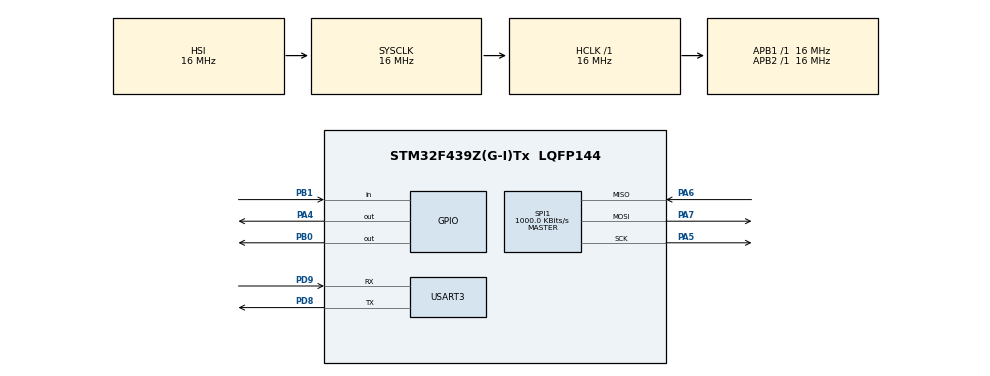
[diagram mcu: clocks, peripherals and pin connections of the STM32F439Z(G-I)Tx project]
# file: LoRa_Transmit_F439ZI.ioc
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Mcu.Family=STM32F4
Mcu.Name=STM32F439Z(G-I)Tx
Mcu.Package=LQFP144
NVIC.PriorityGroup=NVIC_PRIORITYGROUP_4
PA4.Signal=GPIO_Output
PA5.Mode=Full_Duplex_Master
PA5.Signal=SPI1_SCK
PA6.Mode=Full_Duplex_Master
PA6.Signal=SPI1_MISO
PA7.Mode=Full_Duplex_Master
PA7.Signal=SPI1_MOSI
PB0.Signal=GPIO_Output
PB1.Signal=GPIO_Input
PD8.Mode=Asynchronous
PD8.Signal=USART3_TX
PD9.Mode=Asynchronous
PD9.Signal=USART3_RX
ProjectManager.HeapSize=0x200
ProjectManager.StackSize=0x400
ProjectManager.TargetToolchain=STM32CubeIDE
RCC.AHBFreq_Value=16000000
RCC.APB1Freq_Value=16000000
RCC.APB2Freq_Value=16000000
RCC.CortexFreq_Value=16000000
RCC.HSE_VALUE=25000000
RCC.HSI_VALUE=16000000
RCC.LSE_VALUE=32768
RCC.SYSCLKFreq_VALUE=16000000
RCC.VCOOutputFreq_Value=192000000
SPI1.BaudRatePrescaler=SPI_BAUDRATEPRESCALER_16
SPI1.CalculateBaudRate=1000.0 KBits/s
SPI1.Direction=SPI_DIRECTION_2LINES
SPI1.Mode=SPI_MODE_MASTER
SPI1.VirtualType=VM_MASTER
USART3.VirtualMode=VM_ASYNC
board=custom

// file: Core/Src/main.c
/* USER CODE BEGIN Header */
/**
  ******************************************************************************
  * @file           : main.c
  * @brief          : Main program body
  ******************************************************************************
  * @attention
  *
  * Copyright (c) 2026 STMicroelectronics.
  * All rights reserved.
  *
  * This software is licensed under terms that can be found in the LICENSE file
  * in the root directory of this software component.
  * If no LICENSE file comes with this software, it is provided AS-IS.
  *
  ******************************************************************************
  */
/* USER CODE END Header */
#include "main.h"
#include "lora.h"
#include "stdio.h"
#include "string.h"
/* USER CODE BEGIN Includes */
extern UART_HandleTypeDef huart3;
/* USER CODE END Includes */

/* USER CODE BEGIN PD */
/*SCK   -> PA5
MISO  -> PA6
MOSI  -> PA7
NSS   -> PA4
RESET -> PB0
GND   -> GND
VCC   -> 3.3V
D1O0  -> PB1 */
/* USER CODE END PD */

SPI_HandleTypeDef hspi1;

UART_HandleTypeDef huart3;

void SystemClock_Config(void);
static void MX_GPIO_Init(void);
static void MX_SPI1_Init(void);
static void MX_USART3_UART_Init(void);

/* USER CODE BEGIN 0 */
int __io_putchar(int ch)
{
    HAL_UART_Transmit(&huart3,
                      (uint8_t *)&ch,
                      1,
                      HAL_MAX_DELAY);

    return ch;
}
typedef struct __attribute__((packed))
{
    float latitude;
    float longitude;
    float altitude;
    float batteryVoltage;
    float batteryCurrent;
    uint8_t flightMode;
} Telemetry_t;

/* USER CODE END 0 */

int main(void)
{

  /* MCU Configuration--------------------------------------------------------*/

  /* Reset of all peripherals, Initializes the Flash interface and the Systick. */
  HAL_Init();

  /* Configure the system clock */
  SystemClock_Config();

  /* Initialize all configured peripherals */
  MX_GPIO_Init();
  MX_SPI1_Init();
  MX_USART3_UART_Init();
  /* USER CODE BEGIN 2 */
   Telemetry_t txData;
   LoRa_Reset();
   if(LoRa_Init(433000000))
    {
        printf("LoRa Init OK\r\n");
    }
    else
    {
        printf("LoRa Init Failed\r\n");
    }

   HAL_Delay(100);
  /* USER CODE END 2 */

  /* Infinite loop */
  while (1)
  {

    /* USER CODE BEGIN 3 */
	  while(1)
	  {
	      txData.latitude = 21.1702f;
	      txData.longitude = 72.8311f;
	      txData.altitude = 120.5f;
	      txData.batteryVoltage = 11.8f;
	      txData.batteryCurrent = 2.3f;
	      txData.flightMode = 1;

	      printf("\r\n----- TRANSMITTER_F439ZI -----\r\n");
	      printf("Latitude        = %.4f\r\n", txData.latitude);
	      printf("Longitude       = %.4f\r\n", txData.longitude);
	      printf("Altitude        = %.2f m\r\n", txData.altitude);
	      printf("Battery Voltage = %.2f V\r\n", txData.batteryVoltage);
	      printf("Battery Current = %.2f A\r\n", txData.batteryCurrent);
	      printf("Flight Mode     = %d\r\n", txData.flightMode);
	      printf("Packet Size     = %u bytes\r\n",(unsigned int)sizeof(Telemetry_t));

	      LoRa_Send((uint8_t *)&txData, sizeof(Telemetry_t));

	      printf("LoRa Packet Sent\r\n");

	      HAL_Delay(1000);
	  }

  }
  /* USER CODE END 3 */
}

void SystemClock_Config(void)
{
  RCC_OscInitTypeDef RCC_OscInitStruct = {0};
  RCC_ClkInitTypeDef RCC_ClkInitStruct = {0};

  /** Configure the main internal regulator output voltage
  */
  __HAL_RCC_PWR_CLK_ENABLE();
  __HAL_PWR_VOLTAGESCALING_CONFIG(PWR_REGULATOR_VOLTAGE_SCALE3);

  /** Initializes the RCC Oscillators according to the specified parameters
  * in the RCC_OscInitTypeDef structure.
  */
  RCC_OscInitStruct.OscillatorType = RCC_OSCILLATORTYPE_HSI;
  RCC_OscInitStruct.HSIState = RCC_HSI_ON;
  RCC_OscInitStruct.HSICalibrationValue = RCC_HSICALIBRATION_DEFAULT;
  RCC_OscInitStruct.PLL.PLLState = RCC_PLL_NONE;
  if (HAL_RCC_OscConfig(&RCC_OscInitStruct) != HAL_OK)
  {
    Error_Handler();
  }

  /** Initializes the CPU, AHB and APB buses clocks
  */
  RCC_ClkInitStruct.ClockType = RCC_CLOCKTYPE_HCLK|RCC_CLOCKTYPE_SYSCLK
                              |RCC_CLOCKTYPE_PCLK1|RCC_CLOCKTYPE_PCLK2;
  RCC_ClkInitStruct.SYSCLKSource = RCC_SYSCLKSOURCE_HSI;
  RCC_ClkInitStruct.AHBCLKDivider = RCC_SYSCLK_DIV1;
  RCC_ClkInitStruct.APB1CLKDivider = RCC_HCLK_DIV1;
  RCC_ClkInitStruct.APB2CLKDivider = RCC_HCLK_DIV1;

  if (HAL_RCC_ClockConfig(&RCC_ClkInitStruct, FLASH_LATENCY_0) != HAL_OK)
  {
    Error_Handler();
  }
}

static void MX_SPI1_Init(void)
{

  /* SPI1 parameter configuration*/
  hspi1.Instance = SPI1;
  hspi1.Init.Mode = SPI_MODE_MASTER;
  hspi1.Init.Direction = SPI_DIRECTION_2LINES;
  hspi1.Init.DataSize = SPI_DATASIZE_8BIT;
  hspi1.Init.CLKPolarity = SPI_POLARITY_LOW;
  hspi1.Init.CLKPhase = SPI_PHASE_1EDGE;
  hspi1.Init.NSS = SPI_NSS_SOFT;
  hspi1.Init.BaudRatePrescaler = SPI_BAUDRATEPRESCALER_16;
  hspi1.Init.FirstBit = SPI_FIRSTBIT_MSB;
  hspi1.Init.TIMode = SPI_TIMODE_DISABLE;
  hspi1.Init.CRCCalculation = SPI_CRCCALCULATION_DISABLE;
  hspi1.Init.CRCPolynomial = 10;
  if (HAL_SPI_Init(&hspi1) != HAL_OK)
  {
    Error_Handler();
  }

}

static void MX_USART3_UART_Init(void)
{

  huart3.Instance = USART3;
  huart3.Init.BaudRate = 115200;
  huart3.Init.WordLength = UART_WORDLENGTH_8B;
  huart3.Init.StopBits = UART_STOPBITS_1;
  huart3.Init.Parity = UART_PARITY_NONE;
  huart3.Init.Mode = UART_MODE_TX_RX;
  huart3.Init.HwFlowCtl = UART_HWCONTROL_NONE;
  huart3.Init.OverSampling = UART_OVERSAMPLING_16;
  if (HAL_UART_Init(&huart3) != HAL_OK)
  {
    Error_Handler();
  }

}

static void MX_GPIO_Init(void)
{
  GPIO_InitTypeDef GPIO_InitStruct = {0};

  /* GPIO Ports Clock Enable */
  __HAL_RCC_GPIOA_CLK_ENABLE();
  __HAL_RCC_GPIOB_CLK_ENABLE();
  __HAL_RCC_GPIOD_CLK_ENABLE();

  /*Configure GPIO pin Output Level */
  HAL_GPIO_WritePin(GPIOA, GPIO_PIN_4, GPIO_PIN_RESET);

  /*Configure GPIO pin Output Level */
  HAL_GPIO_WritePin(GPIOB, GPIO_PIN_0, GPIO_PIN_RESET);

  /*Configure GPIO pin : PA4 */
  GPIO_InitStruct.Pin = GPIO_PIN_4;
  GPIO_InitStruct.Mode = GPIO_MODE_OUTPUT_PP;
  GPIO_InitStruct.Pull = GPIO_NOPULL;
  GPIO_InitStruct.Speed = GPIO_SPEED_FREQ_LOW;
  HAL_GPIO_Init(GPIOA, &GPIO_InitStruct);

  /*Configure GPIO pin : PB0 */
  GPIO_InitStruct.Pin = GPIO_PIN_0;
  GPIO_InitStruct.Mode = GPIO_MODE_OUTPUT_PP;
  GPIO_InitStruct.Pull = GPIO_NOPULL;
  GPIO_InitStruct.Speed = GPIO_SPEED_FREQ_LOW;
  HAL_GPIO_Init(GPIOB, &GPIO_InitStruct);

  /*Configure GPIO pin : PB1 */
  GPIO_InitStruct.Pin = GPIO_PIN_1;
  GPIO_InitStruct.Mode = GPIO_MODE_INPUT;
  GPIO_InitStruct.Pull = GPIO_NOPULL;
  HAL_GPIO_Init(GPIOB, &GPIO_InitStruct);

}

void Error_Handler(void)
{
  __disable_irq();
  while (1)
  {
  }
}
